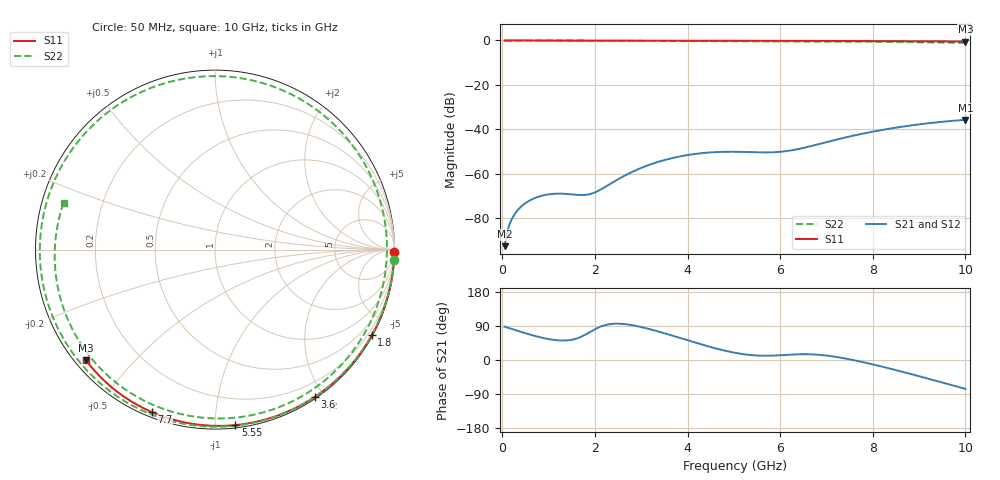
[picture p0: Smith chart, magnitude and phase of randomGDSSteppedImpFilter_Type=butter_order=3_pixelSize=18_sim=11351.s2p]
! freq	dB(S11)	phase(S11)	dB(S12)	phase(S12)
!  dB(S21)	phase(S21)	dB(S22)	phase(S22)
!S-par simulation data
#  GHz  S  DB  R 50
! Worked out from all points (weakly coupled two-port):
!   200 points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, 50 MHz to 10 GHz, reference 50 ohm
!   highest |S21| = -35.69 dB at 10 GHz (marker M1); lowest = -92.5 dB at 50 MHz (marker M2)
!   lowest |S11| = -0.5 dB at 10 GHz (marker M3), VSWR 36.77, Z = 1.55 - j18.5 ohm
!   |S11| at or under -10 dB: nowhere
!   |S22| runs from -1.1 to 0.0 dB; largest |S21 - S12| = 0
!   S11 on the Smith chart (normalised r, x): 50 MHz: open; 1.8 GHz: 0.03, -3.91; 3.6 GHz: 0.02, -1.88; 5.55 GHz: 0.02, -1.12; 7.7 GHz: 0.02, -0.68; 10 GHz: 0.03, -0.37
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0.05  -0.00 -0.8  -92.48 88.0  -92.48 88.0  -0.00 -3.3
0.2  -0.00 -3.2  -80.53 82.1  -80.53 82.1  -0.02 -13.0
0.45  -0.01 -7.3  -73.92 72.5  -73.92 72.5  -0.04 -29.0
0.95  -0.02 -15.2  -69.35 56.3  -69.35 56.3  -0.08 -60.6
1.35  -0.03 -21.6  -68.95 51.4  -68.95 51.4  -0.10 -85.2
1.75  -0.04 -27.9  -69.48 64.2  -69.48 64.2  -0.13 -109.3
1.8  -0.04 -28.7  -69.41 67.4  -69.41 67.4  -0.14 -112.3
2.65  -0.05 -41.8  -60.69 94.6  -60.69 94.6  -0.19 -162.4
3.05  -0.06 -47.8  -56.87 85.5  -56.87 85.5  -0.22 173.8
3.4  -0.07 -53.0  -54.37 74.1  -54.37 74.1  -0.24 152.7
3.6  -0.08 -55.9  -53.23 66.9  -53.23 66.9  -0.25 140.4
4  -0.09 -61.8  -51.52 52.0  -51.52 52.0  -0.27 115.3
4.35  -0.10 -66.8  -50.58 39.3  -50.58 39.3  -0.29 92.9
5.05  -0.12 -76.6  -50.05 18.4  -50.05 18.4  -0.33 48.1
5.55  -0.14 -83.4  -50.31 11.5  -50.31 11.5  -0.36 17.2
6.1  -0.16 -90.7  -49.83 13.5  -49.83 13.5  -0.38 -14.5
6.7  -0.19 -98.6  -47.31 14.8  -47.31 14.8  -0.42 -46.0
7.2  -0.22 -105.0  -44.66 8.3  -44.66 8.3  -0.47 -70.0
7.7  -0.25 -111.2  -42.26 -3.3  -42.26 -3.3  -0.54 -92.5
8.35  -0.31 -119.3  -39.70 -22.0  -39.70 -22.0  -0.66 -120.4
9.25  -0.39 -130.3  -37.10 -51.0  -37.10 -51.0  -0.87 -159.9
10  -0.47 -139.3  -35.69 -76.2  -35.69 -76.2  -1.09 162.7
